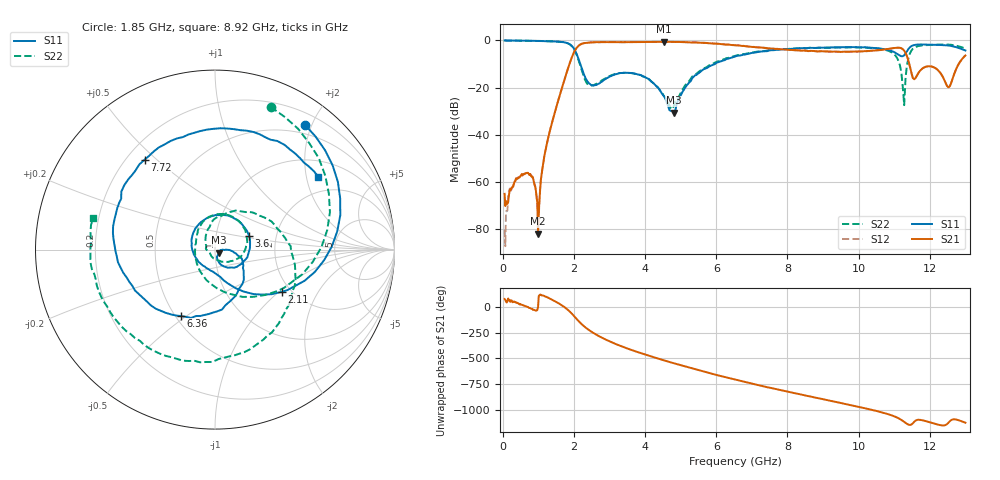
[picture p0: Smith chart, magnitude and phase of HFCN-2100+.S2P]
! Mini-Circuits
! S2P DATA File Format
! Type: High Pass LTCC Surface Mount Filter
! Model: HFCN-2100+
! Note: All S Parameters are in dB deg format
! TEST CONDITIONS: INPUT POWER = 0dBm @Temperature = +25degC
! 401 Frequency points
# MHz S DB R 50
!  FREQ  dB(S11)  PHS(S11)  dB(S21)  PHS(S21)  dB(S12)  PHS(S12)  dB(S22)  PHS(S22)
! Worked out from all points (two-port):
!   401 points, 50 MHz to 13 GHz, reference 50 ohm
!   highest |S21| = -0.56 dB at 4.52 GHz (marker M1); lowest = -81.9 dB at 990 MHz (marker M2)
!   |S21| within 3 dB of the highest: 2.054 GHz to 7.632 GHz (5.577 GHz wide, 115 % of centre); 10.84 GHz to 11.23 GHz (391 MHz wide, 3.54 % of centre)
!   lowest |S11| = -30.6 dB at 4.8 GHz (marker M3), VSWR 1.06, Z = 52.4 - j1.82 ohm
!   |S11| at or under -10 dB: 2.177 GHz to 5.959 GHz (3.782 GHz wide, 93 % of centre)
!   |S22| runs from -29.2 to 0.0 dB; largest |S21 - S12| = 0.008
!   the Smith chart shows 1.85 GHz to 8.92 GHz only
!   S11 on the Smith chart (normalised r, x): 1.85 GHz: 0.36, +1.90; 2.11 GHz: 1.80, -1.05; 3.6 GHz: 1.44, +0.24; 6.36 GHz: 0.53, -0.48; 7.72 GHz: 0.27, +0.46; 8.92 GHz: 1.46, +2.35
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50  0.01 -6.8  -65.00 76.6  -80.09 135.7  -0.01 -6.1
490  -0.05 -66.6  -57.53 27.9  -57.20 26.7  -0.05 -60.9
990  -0.21 -138.4  -81.94 -1.6  -75.69 -12.9  -0.19 -127.8
1450  -0.41 145.4  -31.13 57.7  -31.10 57.8  -0.38 160.4
1850  -1.34 54.3  -10.99 -35.8  -10.96 -35.8  -1.38 68.7
2110  -7.11 -32.2  -2.47 -131.4  -2.49 -131.4  -7.55 -33.3
2210  -11.46 -57.9  -1.48 -166.9  -1.46 -166.9  -12.34 -77.8
2670  -18.55 -162.1  -0.73 80.6  -0.71 80.4  -18.08 144.6
3600  -13.77 22.4  -0.69 -57.9  -0.65 -57.9  -13.82 41.2
4400  -20.75 -68.1  -0.59 -147.6  -0.57 -147.6  -20.76 -48.0
4520  -23.45 -72.1  -0.56 -160.0  -0.55 -160.0  -23.46 -68.0
4800  -30.64 -36.1  -0.59 170.9  -0.60 171.0  -28.06 -163.2
6360  -7.61 -117.2  -1.81 25.8  -1.75 25.8  -7.26 -4.4
6560  -6.63 -135.0  -2.08 9.0  -2.05 9.1  -6.37 -20.9
7720  -3.93 128.1  -3.57 -84.3  -3.55 -84.1  -3.81 -109.5
8720  -3.13 50.2  -4.44 -158.9  -4.46 -158.6  -3.17 179.8
8920  -3.05 35.2  -4.56 -173.3  -4.61 -173.0  -3.10 165.7
10880  -4.22 -125.5  -3.45 29.2  -3.50 29.0  -4.68 10.2
11280  -6.25 -134.8  -4.30 -40.2  -4.29 -40.3  -27.41 58.4
11720  -1.68 171.6  -12.94 -20.1  -12.92 -20.6  -2.22 -7.3
12280  -1.89 91.9  -13.41 -71.1  -13.45 -71.7  -1.76 -86.6
13000  -4.24 -50.0  -6.37 -48.2  -6.41 -48.7  -3.42 164.0
